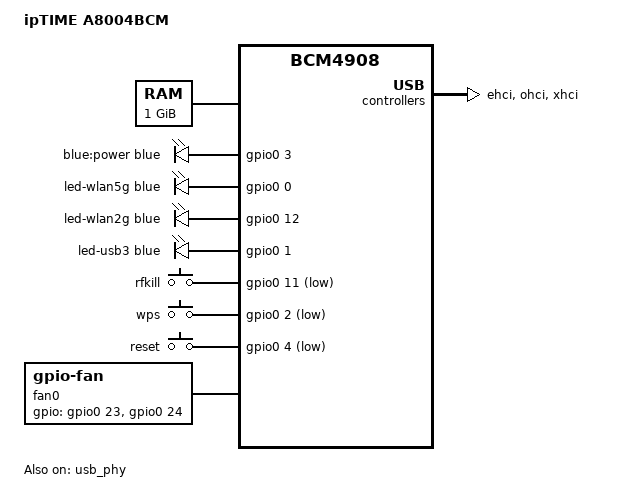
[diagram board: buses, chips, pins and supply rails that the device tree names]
// SPDX-License-Identifier: GPL-2.0-or-later OR MIT

#include <dt-bindings/gpio/gpio.h>
#include <dt-bindings/input/input.h>
#include <dt-bindings/leds/common.h>

#include "bcm4908.dtsi"

/ {
	compatible = "iptime,a8004bcm", "brcm,bcm4908";
	model = "ipTIME A8004BCM";

	aliases {
		led-boot = &led_cpu;
		led-failsafe = &led_cpu;
		led-running = &led_cpu;
		led-upgrade = &led_cpu;
	};

	memory@0 {
		device_type = "memory";
		reg = <0x00 0x00 0x00 0x40000000>;
	};

	leds {
		compatible = "gpio-leds";

		led_cpu: led-cpu {
			label = "blue:power";
			function = LED_FUNCTION_POWER;
			color = <LED_COLOR_ID_BLUE>;
			gpios = <&gpio0 3 GPIO_ACTIVE_HIGH>;
		};

		led-wlan5g {
			function = "wlan5g";
			color = <LED_COLOR_ID_BLUE>;
			gpios = <&gpio0 0 GPIO_ACTIVE_HIGH>;
		};

		led-wlan2g {
			function = "wlan2g";
			color = <LED_COLOR_ID_BLUE>;
			gpios = <&gpio0 12 GPIO_ACTIVE_HIGH>;
		};

		led-usb3 {
			function = "usb3";
			color = <LED_COLOR_ID_BLUE>;
			gpios = <&gpio0 1 GPIO_ACTIVE_HIGH>;
		};
	};

	keys {
		compatible = "gpio-keys-polled";
		poll-interval = <100>;

		rfkill {
			label = "rfkill";
			linux,input-type = <EV_SW>;
			linux,code = <KEY_RFKILL>;
			gpios = <&gpio0 11 GPIO_ACTIVE_LOW>;
		};

		wps {
			label = "wps";
			linux,code = <KEY_WPS_BUTTON>;
			gpios = <&gpio0 2 GPIO_ACTIVE_LOW>;
		};

		reset {
			label = "reset";
			linux,code = <KEY_RESTART>;
			gpios = <&gpio0 4 GPIO_ACTIVE_LOW>;
		};
	};

	fan0: gpio-fan {
		compatible = "gpio-fan";
		gpios = <&gpio0 23 GPIO_ACTIVE_HIGH>,
		        <&gpio0 24 GPIO_ACTIVE_HIGH>;
		/* We don't know the exact rpm, just use dummy values here. */
		gpio-fan,speed-map = <0 0>, <1 1>, <2 2>;
		#cooling-cells = <2>;
	};
};

&enet {
	// nvmem-cells = <&base_mac_addr>;
	// nvmem-cell-names = "mac-address";
	mtd-mac-address = <&cferom 0x106a0>;
};

&usb_phy {
	brcm,ioc = <1>;
	status = "okay";
};

&ehci {
	status = "okay";
};

&ohci {
	status = "okay";
};

&xhci {
	status = "okay";
};

&ports {
	port@0 {
		label = "lan1";
	};

	port@1 {
		label = "lan2";
	};

	port@2 {
		label = "lan3";
	};

	port@3 {
		label = "lan4";
	};
};

&nandcs {
	nand-ecc-strength = <4>;
	nand-ecc-step-size = <512>;
	nand-on-flash-bbt;
	brcm,nand-has-wp;

	#address-cells = <1>;
	#size-cells = <0>;

	partitions {
		compatible = "brcm,bcm4908-partitions";
		#address-cells = <1>;
		#size-cells = <1>;

		cferom: partition@0 {
			label = "cferom";
			reg = <0x0 0x100000>;

			compatible = "nvmem-cells";
			#address-cells = <1>;
			#size-cells = <1>;
			ranges = <0 0x0 0x100000>;

			base_mac_addr: mac@106a0 {
				reg = <0x106a0 0x6>;
			};
		};

		partition@100000 {
			compatible = "brcm,bcm4908-firmware";
			reg = <0x100000 0x3700000>;
		};

		partition@3800000 {
			compatible = "brcm,bcm4908-firmware";
			reg = <0x3800000 0x3700000>;
		};

		partition@6f00000 {
			label = "nvram";
			reg = <0x6f00000 0x800000>;
			read-only;
		};

		partition@7700000 {
			label = "config";
			reg = <0x7700000 0x800000>;
			read-only;
		};
	};
};
